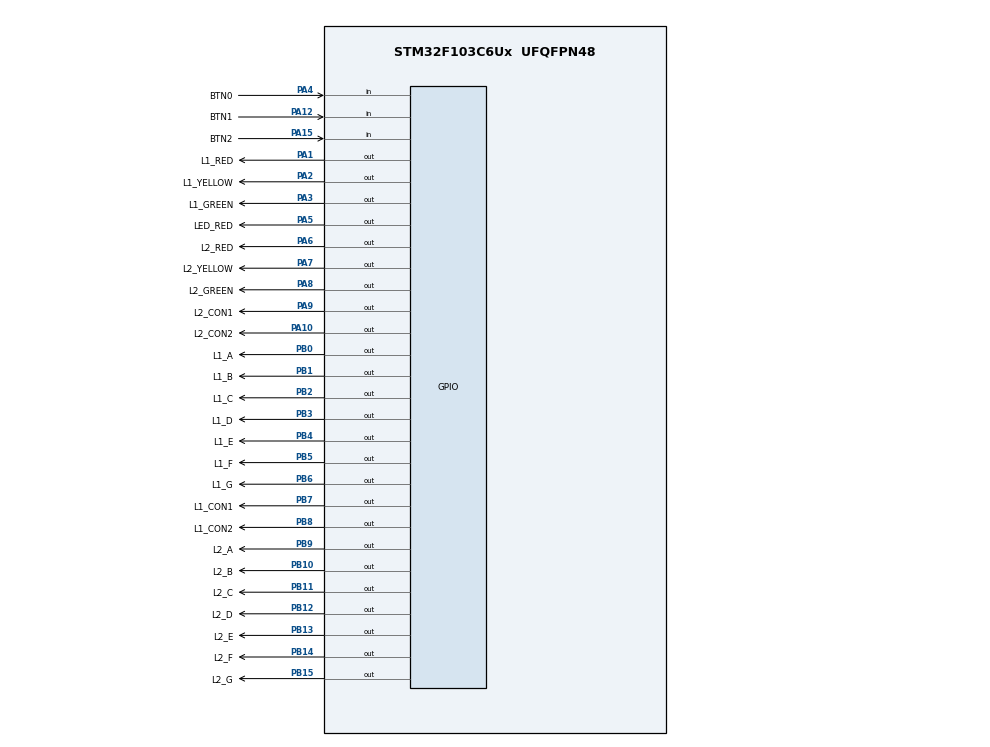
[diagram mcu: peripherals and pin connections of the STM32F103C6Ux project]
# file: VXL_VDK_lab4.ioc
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Mcu.Family=STM32F1
Mcu.Name=STM32F103C6Ux
Mcu.Package=UFQFPN48
NVIC.PriorityGroup=NVIC_PRIORITYGROUP_4
NVIC.TIM2_IRQn=true\:0\:0\:false\:false\:true\:true\:true\:true
PA1.GPIO_Label=L1_RED
PA1.Signal=GPIO_Output
PA10.GPIO_Label=L2_CON2
PA10.Signal=GPIO_Output
PA12.GPIO_Label=BTN1
PA12.Signal=GPIO_Input
PA13.Mode=Serial_Wire
PA13.Signal=SYS_JTMS-SWDIO
PA14.Mode=Serial_Wire
PA14.Signal=SYS_JTCK-SWCLK
PA15.GPIO_Label=BTN2
PA15.Signal=GPIO_Input
PA2.GPIO_Label=L1_YELLOW
PA2.Signal=GPIO_Output
PA3.GPIO_Label=L1_GREEN
PA3.Signal=GPIO_Output
PA4.GPIO_Label=BTN0
PA4.Signal=GPIO_Input
PA5.GPIO_Label=LED_RED
PA5.Signal=GPIO_Output
PA6.GPIO_Label=L2_RED
PA6.Signal=GPIO_Output
PA7.GPIO_Label=L2_YELLOW
PA7.Signal=GPIO_Output
PA8.GPIO_Label=L2_GREEN
PA8.Signal=GPIO_Output
PA9.GPIO_Label=L2_CON1
PA9.Signal=GPIO_Output
PB0.GPIO_Label=L1_A
PB0.Signal=GPIO_Output
PB1.GPIO_Label=L1_B
PB1.Signal=GPIO_Output
PB10.GPIO_Label=L2_B
PB10.Signal=GPIO_Output
PB11.GPIO_Label=L2_C
PB11.Signal=GPIO_Output
PB12.GPIO_Label=L2_D
PB12.Signal=GPIO_Output
PB13.GPIO_Label=L2_E
PB13.Signal=GPIO_Output
PB14.GPIO_Label=L2_F
PB14.Signal=GPIO_Output
PB15.GPIO_Label=L2_G
PB15.Signal=GPIO_Output
PB2.GPIO_Label=L1_C
PB2.Signal=GPIO_Output
PB3.GPIO_Label=L1_D
PB3.Signal=GPIO_Output
PB4.GPIO_Label=L1_E
PB4.Signal=GPIO_Output
PB5.GPIO_Label=L1_F
PB5.Signal=GPIO_Output
PB6.GPIO_Label=L1_G
PB6.Signal=GPIO_Output
PB7.GPIO_Label=L1_CON1
PB7.Signal=GPIO_Output
PB8.GPIO_Label=L1_CON2
PB8.Signal=GPIO_Output
PB9.GPIO_Label=L2_A
PB9.Signal=GPIO_Output
ProjectManager.HeapSize=0x200
ProjectManager.StackSize=0x400
ProjectManager.TargetToolchain=STM32CubeIDE
RCC.APB1Freq_Value=8000000
RCC.APB2Freq_Value=8000000
TIM2.Period=9
TIM2.Prescaler=7999
VP_TIM2_VS_ClockSourceINT.Mode=Internal
board=custom

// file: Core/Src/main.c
/* USER CODE BEGIN Header */
/**
  ******************************************************************************
  * @file           : main.c
  * @brief          : Main program body
  ******************************************************************************
  * @attention
  *
  * Copyright (c) 2025 STMicroelectronics.
  * All rights reserved.
  *
  * This software is licensed under terms that can be found in the LICENSE file
  * in the root directory of this software component.
  * If no LICENSE file comes with this software, it is provided AS-IS.
  *
  ******************************************************************************
  */
/* USER CODE END Header */
#include "main.h"
#include "tim.h"
#include "gpio.h"

/* USER CODE BEGIN Includes */
#include "global.h"
#include "inout_driver.h"
#include "SCH.h"
/* USER CODE END Includes */

void SystemClock_Config(void);

/* USER CODE BEGIN 0 */
void Toggle_LED_RED(void){
	HAL_GPIO_TogglePin(LED_RED_GPIO_Port, LED_RED_Pin);
	SCH_Add_Task(Toggle_LED_RED, 50, 0);

}
void read_long_pressed_0(void){
	long_pressed_buf[0] = is_button_pressed_500ms(0);
}
void read_long_pressed_1(void){
	long_pressed_buf[1] = is_button_pressed_500ms(1);
}
void read_long_pressed_2(void){
	long_pressed_buf[2] = is_button_pressed_500ms(2);
}
/* USER CODE END 0 */

int main(void)
{

  /* MCU Configuration--------------------------------------------------------*/

  /* Reset of all peripherals, Initializes the Flash interface and the Systick. */
  HAL_Init();

  /* Configure the system clock */
  SystemClock_Config();

  /* Initialize all configured peripherals */
  MX_GPIO_Init();
  MX_TIM2_Init();
  /* USER CODE BEGIN 2 */
  HAL_GPIO_WritePin(GPIOA, L1_RED_Pin| L1_YELLOW_Pin| L1_GREEN_Pin | L2_RED_Pin| L2_YELLOW_Pin| L2_GREEN_Pin, SET);
  fsm_state = FSM_INIT;
//  SCH_Add_Task(Toggle_LED_RED, 0, 1000);
//  SCH_Add_Task(main_fsm, 7, 15);
//  SCH_Add_Task(led_fsm, 13, 100);
//  SCH_Add_Task(display_seg1, 17, 15);
//  SCH_Add_Task(display_seg2, 23, 15);
//  SCH_Add_Task(button_reading, 1, 10);
//  SCH_Add_Task(read_long_pressed_0, 29, 250);
//  SCH_Add_Task(read_long_pressed_1, 31, 250);
//  SCH_Add_Task(read_long_pressed_2, 37, 250);
  SCH_Init();
  SCH_Add_Task(Toggle_LED_RED, 50, 0);
  SCH_Add_Task(main_fsm, 6, 2);
  SCH_Add_Task(led_fsm, 7, 4);
  SCH_Add_Task(display_seg1, 8, 1);
  SCH_Add_Task(display_seg2, 2, 1);
  SCH_Add_Task(button_reading, 1, 1);
  SCH_Add_Task(read_long_pressed_0, 3, 25);
  SCH_Add_Task(read_long_pressed_1, 4, 25);
  SCH_Add_Task(read_long_pressed_2, 5, 25);
  HAL_TIM_Base_Start_IT(&htim2);

  /* USER CODE END 2 */

  /* Infinite loop */
  /* USER CODE BEGIN WHILE */
  while (1)
  {
	SCH_Dispatch_Tasks();

    /* USER CODE END WHILE */

  }
}

void SystemClock_Config(void)
{
  RCC_OscInitTypeDef RCC_OscInitStruct = {0};
  RCC_ClkInitTypeDef RCC_ClkInitStruct = {0};

  /** Initializes the RCC Oscillators according to the specified parameters
  * in the RCC_OscInitTypeDef structure.
  */
  RCC_OscInitStruct.OscillatorType = RCC_OSCILLATORTYPE_HSI;
  RCC_OscInitStruct.HSIState = RCC_HSI_ON;
  RCC_OscInitStruct.HSICalibrationValue = RCC_HSICALIBRATION_DEFAULT;
  RCC_OscInitStruct.PLL.PLLState = RCC_PLL_NONE;
  if (HAL_RCC_OscConfig(&RCC_OscInitStruct) != HAL_OK)
  {
    Error_Handler();
  }

  /** Initializes the CPU, AHB and APB buses clocks
  */
  RCC_ClkInitStruct.ClockType = RCC_CLOCKTYPE_HCLK|RCC_CLOCKTYPE_SYSCLK
                              |RCC_CLOCKTYPE_PCLK1|RCC_CLOCKTYPE_PCLK2;
  RCC_ClkInitStruct.SYSCLKSource = RCC_SYSCLKSOURCE_HSI;
  RCC_ClkInitStruct.AHBCLKDivider = RCC_SYSCLK_DIV1;
  RCC_ClkInitStruct.APB1CLKDivider = RCC_HCLK_DIV1;
  RCC_ClkInitStruct.APB2CLKDivider = RCC_HCLK_DIV1;

  if (HAL_RCC_ClockConfig(&RCC_ClkInitStruct, FLASH_LATENCY_0) != HAL_OK)
  {
    Error_Handler();
  }
}

void Error_Handler(void)
{
  __disable_irq();
  while (1)
  {
  }
}
